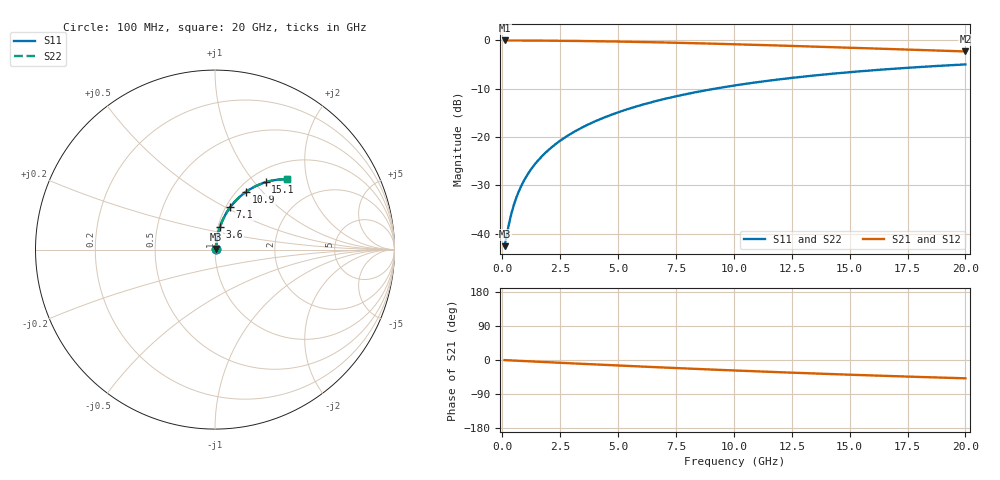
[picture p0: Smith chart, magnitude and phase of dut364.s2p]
! Touchstone file exported from HFSS 2024.1.0
!  File:  C:/UserFiles/LocalFiles/RDL_TSV_Batchsim/temp_RDL_bottom_364_1779612928.aedt
!  Generated:  04:58:36 PM May 24, 2026
!  Design:  RDL_bottom
!  Project:  temp_RDL_bottom_364_1779612928
!  Setup:  Setup1
!  Solution:  Sweep
! Variables:
!  dtsv = 10.80580581um
!  hbump = 3um
!  htsv = 69.46um
!  ldown = 581.64um
!  lrdl = 100um
!  p = 40
!  p1 = 59.18um
!  rhole = 1um
!  t = 450um
!  tdown = 3um
!  trdl = 3.915915916um
!  wdown = 10.7um
!  wrdl = 20um
# GHz S MA R 50.000000
! Terminal data exported
! Port[1] = RDL1_T1
! Port[2] = RDL1_T2
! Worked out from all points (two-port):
!   200 points, 100 MHz to 20 GHz, reference 50 ohm
!   highest |S21| = -0.06 dB at 100 MHz (marker M1); lowest = -2.3 dB at 20 GHz (marker M2)
!   |S21| within 3 dB of the highest: start of sweep to end of sweep
!   lowest |S11| = -42.6 dB at 100 MHz (marker M3), VSWR 1.02, Z = 50.6 + j0.38 ohm
!   |S11| at or under -10 dB: start of sweep to 9.207 GHz
!   |S22| runs from -42.6 to -5.0 dB; largest |S21 - S12| = 2.1e-15
!   S11 on the Smith chart (normalised r, x): 100 MHz: 1.01, +0.01; 3.6 GHz: 1.02, +0.27; 7.1 GHz: 1.05, +0.53; 10.9 GHz: 1.10, +0.82; 15.1 GHz: 1.19, +1.14; 20 GHz: 1.34, +1.54
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0.1  0.007451 30.2  0.9936 -0.3  0.9936 -0.3  0.007451 30.2
! Gamma 0 0 0 0
! Port Impedance 50 0 50 0
0.3  0.01304 59.2  0.9934 -0.9  0.9934 -0.9  0.01304 59.2
0.4  0.01641 65.3  0.9932 -1.2  0.9932 -1.2  0.01641 65.3
0.5  0.01989 69.1  0.993 -1.5  0.993 -1.5  0.01989 69.1
0.6  0.02342 71.7  0.9929 -1.8  0.9929 -1.8  0.02342 71.7
0.8  0.03054 74.9  0.9924 -2.4  0.9924 -2.4  0.03054 74.9
1.1  0.04129 77.3  0.9916 -3.3  0.9916 -3.3  0.04129 77.3
1.5  0.05564 78.7  0.9904 -4.5  0.9904 -4.5  0.05564 78.7
2.1  0.07719 79.2  0.9881 -6.2  0.9881 -6.2  0.07719 79.2
2.7  0.0987 78.8  0.9851 -8.0  0.9851 -8.0  0.0987 78.8
3.5  0.1272 77.7  0.9802 -10.3  0.9802 -10.3  0.1272 77.7
3.6  0.1307 77.5  0.9795 -10.6  0.9795 -10.6  0.1307 77.5
5  0.1797 74.9  0.968 -14.5  0.968 -14.5  0.1797 74.9
6.8  0.2405 71.0  0.9493 -19.4  0.9493 -19.4  0.2405 71.0
7.1  0.2503 70.3  0.9458 -20.2  0.9458 -20.2  0.2503 70.3
8.5  0.2947 67.1  0.9285 -23.9  0.9285 -23.9  0.2947 67.1
10.1  0.3425 63.5  0.9069 -27.8  0.9069 -27.8  0.3425 63.5
10.9  0.3651 61.8  0.8957 -29.8  0.8957 -29.8  0.3651 61.8
13.4  0.4301 56.5  0.8594 -35.4  0.8594 -35.4  0.4301 56.5
15.1  0.4694 53.1  0.8344 -39.0  0.8344 -39.0  0.4694 53.1
16.7  0.5029 50.0  0.8111 -42.2  0.8111 -42.2  0.5029 50.0
20  0.562 44.2  0.765 -48.3  0.765 -48.3  0.562 44.2
